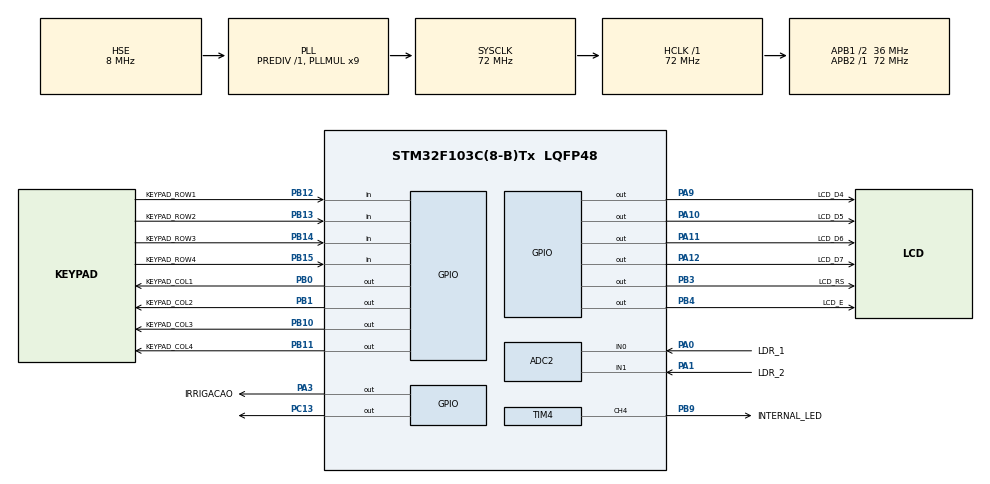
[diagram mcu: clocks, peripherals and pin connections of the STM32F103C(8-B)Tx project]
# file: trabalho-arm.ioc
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ADC1.Channel-2\#ChannelRegularConversion=ADC_CHANNEL_VREFINT
ADC1.Channel-3\#ChannelRegularConversion=ADC_CHANNEL_TEMPSENSOR
ADC1.ContinuousConvMode=ENABLE
ADC1.NbrOfConversion=2
ADC1.NbrOfConversionFlag=1
ADC1.Rank-2\#ChannelRegularConversion=1
ADC1.Rank-3\#ChannelRegularConversion=2
ADC1.SamplingTime-2\#ChannelRegularConversion=ADC_SAMPLETIME_239CYCLES_5
ADC1.SamplingTime-3\#ChannelRegularConversion=ADC_SAMPLETIME_239CYCLES_5
ADC1.master=1
ADC2.Channel-0\#ChannelRegularConversion=ADC_CHANNEL_1
ADC2.ContinuousConvMode=ENABLE
ADC2.NbrOfConversionFlag=1
ADC2.Rank-0\#ChannelRegularConversion=1
ADC2.SamplingTime-0\#ChannelRegularConversion=ADC_SAMPLETIME_55CYCLES_5
Dma.ADC1.0.Direction=DMA_PERIPH_TO_MEMORY
Dma.ADC1.0.Instance=DMA1_Channel1
Dma.ADC1.0.MemDataAlignment=DMA_MDATAALIGN_HALFWORD
Dma.ADC1.0.MemInc=DMA_MINC_ENABLE
Dma.ADC1.0.Mode=DMA_CIRCULAR
Dma.ADC1.0.PeriphDataAlignment=DMA_PDATAALIGN_HALFWORD
Dma.ADC1.0.PeriphInc=DMA_PINC_DISABLE
Dma.ADC1.0.Priority=DMA_PRIORITY_LOW
Dma.Request0=ADC1
Mcu.Family=STM32F1
Mcu.Name=STM32F103C(8-B)Tx
Mcu.Package=LQFP48
NVIC.ADC1_2_IRQn=true\:0\:0\:false\:false\:true\:true\:true\:true
NVIC.DMA1_Channel1_IRQn=true\:0\:0\:false\:false\:true\:false\:true\:true
NVIC.PriorityGroup=NVIC_PRIORITYGROUP_4
NVIC.TIM2_IRQn=true\:0\:0\:false\:false\:true\:true\:true\:true
NVIC.TIM3_IRQn=true\:0\:0\:false\:false\:true\:true\:true\:true
PA0-WKUP.GPIO_Label=LDR_1
PA0-WKUP.Signal=ADCx_IN0
PA1.GPIO_Label=LDR_2
PA1.Signal=ADCx_IN1
PA10.GPIO_Label=LCD_D5
PA10.GPIO_Speed=GPIO_SPEED_FREQ_HIGH
PA10.Signal=GPIO_Output
PA11.GPIO_Label=LCD_D6
PA11.GPIO_Speed=GPIO_SPEED_FREQ_HIGH
PA11.Signal=GPIO_Output
PA12.GPIO_Label=LCD_D7
PA12.GPIO_Speed=GPIO_SPEED_FREQ_HIGH
PA12.Signal=GPIO_Output
PA3.GPIO_Label=IRRIGACAO
PA3.GPIO_Speed=GPIO_SPEED_FREQ_HIGH
PA3.Signal=GPIO_Output
PA9.GPIO_Label=LCD_D4
PA9.GPIO_Speed=GPIO_SPEED_FREQ_HIGH
PA9.Signal=GPIO_Output
PB0.GPIO_Label=KEYPAD_COL1
PB0.GPIO_Speed=GPIO_SPEED_FREQ_HIGH
PB0.Signal=GPIO_Output
PB1.GPIO_Label=KEYPAD_COL2
PB1.GPIO_Speed=GPIO_SPEED_FREQ_HIGH
PB1.Signal=GPIO_Output
PB10.GPIO_Label=KEYPAD_COL3
PB10.GPIO_Speed=GPIO_SPEED_FREQ_HIGH
PB10.Signal=GPIO_Output
PB11.GPIO_Label=KEYPAD_COL4
PB11.GPIO_Speed=GPIO_SPEED_FREQ_HIGH
PB11.Signal=GPIO_Output
PB12.GPIO_Label=KEYPAD_ROW1
PB12.GPIO_PuPd=GPIO_PULLUP
PB12.Signal=GPIO_Input
PB13.GPIO_Label=KEYPAD_ROW2
PB13.GPIO_PuPd=GPIO_PULLUP
PB13.Signal=GPIO_Input
PB14.GPIO_Label=KEYPAD_ROW3
PB14.GPIO_PuPd=GPIO_PULLUP
PB14.Signal=GPIO_Input
PB15.GPIO_Label=KEYPAD_ROW4
PB15.GPIO_PuPd=GPIO_PULLUP
PB15.Signal=GPIO_Input
PB3.GPIO_Label=LCD_RS
PB3.GPIO_Speed=GPIO_SPEED_FREQ_HIGH
PB3.Signal=GPIO_Output
PB4.GPIO_Label=LCD_E
PB4.GPIO_Speed=GPIO_SPEED_FREQ_HIGH
PB4.Signal=GPIO_Output
PB9.GPIO_Label=INTERNAL_LED
PB9.Signal=S_TIM4_CH4
PC13-TAMPER-RTC.GPIO_Speed=GPIO_SPEED_FREQ_HIGH
PC13-TAMPER-RTC.Signal=GPIO_Output
PD0-OSC_IN.Mode=HSE-External-Oscillator
PD0-OSC_IN.Signal=RCC_OSC_IN
PD1-OSC_OUT.Mode=HSE-External-Oscillator
PD1-OSC_OUT.Signal=RCC_OSC_OUT
ProjectManager.HeapSize=0x200
ProjectManager.StackSize=0x400
ProjectManager.TargetToolchain=STM32CubeIDE
RCC.ADCPresc=RCC_ADCPCLK2_DIV6
RCC.AHBFreq_Value=72000000
RCC.APB1CLKDivider=RCC_HCLK_DIV2
RCC.APB1Freq_Value=36000000
RCC.APB1TimFreq_Value=72000000
RCC.APB2Freq_Value=72000000
RCC.APB2TimFreq_Value=72000000
RCC.HCLKFreq_Value=72000000
RCC.PLLMUL=RCC_PLL_MUL9
RCC.PLLSourceVirtual=RCC_PLLSOURCE_HSE
RCC.SYSCLKFreq_VALUE=72000000
RCC.SYSCLKSource=RCC_SYSCLKSOURCE_PLLCLK
RCC.USBFreq_Value=72000000
SH.ADCx_IN0.0=ADC2_IN0,IN0
SH.ADCx_IN1.0=ADC2_IN1,IN1
SH.S_TIM4_CH4.0=TIM4_CH4,PWM Generation4 CH4
TIM2.AutoReloadPreload=TIM_AUTORELOAD_PRELOAD_ENABLE
TIM2.CounterMode=TIM_COUNTERMODE_DOWN
TIM2.Period=999
TIM2.Prescaler=35999
TIM3.AutoReloadPreload=TIM_AUTORELOAD_PRELOAD_ENABLE
TIM3.CounterMode=TIM_COUNTERMODE_DOWN
TIM3.Period=9999
TIM3.Prescaler=7199
TIM4.AutoReloadPreload=TIM_AUTORELOAD_PRELOAD_DISABLE
TIM4.Channel-PWM\ Generation4\ CH4=TIM_CHANNEL_4
TIM4.OC4Preload_PWM=DISABLE
TIM4.Period=119
TIM4.Prescaler=7199
TIM4.Pulse-PWM\ Generation4\ CH4=60
VP_ADC1_TempSens_Input.Mode=IN-TempSens
VP_ADC1_Vref_Input.Mode=IN-Vrefint
VP_SYS_VS_ND.Mode=No_Debug
VP_TIM2_VS_ClockSourceINT.Mode=Internal
VP_TIM3_VS_ClockSourceINT.Mode=Internal
VP_TIM4_VS_ClockSourceINT.Mode=Internal
board=custom

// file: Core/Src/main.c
/* USER CODE BEGIN Header */
/**
 * ******************************************************************************
  	  	  	  	  	  	 TRABALHO 2 - MICROPROCESSADORES - I
							  ARTHUR A S ARAUJO
							  GABRIEL R S MENDES
  ******************************************************************************
  ******************************************************************************
  * @file           : main.c
  * @brief          : Main program body
  ******************************************************************************
  * @attention
  *
  * Copyright (c) 2024 STMicroelectronics.
  * All rights reserved.
  *
  * This software is licensed under terms that can be found in the LICENSE file
  * in the root directory of this software component.
  * If no LICENSE file comes with this software, it is provided AS-IS.
  *
  ******************************************************************************
  */
/* USER CODE END Header */
#include "main.h"

/* USER CODE BEGIN Includes */
#include "keypad.h"
#include "lcd.h"
#include "ambient.h"
/* USER CODE END Includes */

ADC_HandleTypeDef hadc1;
ADC_HandleTypeDef hadc2;
DMA_HandleTypeDef hdma_adc1;

TIM_HandleTypeDef htim2;
TIM_HandleTypeDef htim3;
TIM_HandleTypeDef htim4;

/* USER CODE BEGIN PV */
volatile unsigned char tempo_irrigacao = 15;
volatile unsigned char elapsed_time = 0;
volatile char flag_irrigacao_em_andamento = 0;

volatile char flag_temperatura_acima_limite = 0;	// 1 = Acima do Limite, 0 = Abaixo do Limite
volatile char flag_turno_dia = 1;		// 1 = Dia, 0 = Noite
char variedade = 0;		// 0-Alface, 1-Pimentao, 2-Morango

float temperatura_limite = 25.0;
volatile float temperatura_atual;
uint16_t AD_RES[2];

volatile char selected_menu = 0; // 0-Principal, 1-Informacoes Sistema, 2-Selecao, 3-Intensidade Luz, 4-Operador

/* USER CODE END PV */

void SystemClock_Config(void);
static void MX_GPIO_Init(void);
static void MX_DMA_Init(void);
static void MX_ADC1_Init(void);
static void MX_TIM3_Init(void);
static void MX_TIM4_Init(void);
static void MX_TIM2_Init(void);
static void MX_ADC2_Init(void);
/* USER CODE BEGIN PFP */
void select_params(void);
void menu_main(void);
void menu_selection(void);
void menu_plant_selection(void);
void menu_temperature_selection(void);
void get_name(char code, char* buffer);
void get_day_night(char code, char* buffer);
void menu_actual_state(void);
void menu_light(void);

void menu_selection_operator(void);
char validate_user(const char* login, const char* password);
char menu_operator_login(void);
/* USER CODE END PFP */

/* USER CODE BEGIN 0 */
// Interrupt handler for TIM2 Channel 1 and Channel 2

void HAL_TIM_PeriodElapsedCallback(TIM_HandleTypeDef *htim)
{
	// TIMER 3 -> IRRIGACAO (Periodo 1s)
    if (htim->Instance == TIM3)
    {
    	HAL_GPIO_TogglePin(GPIOC, GPIO_PIN_13);

    	/* ============================== IRRIGACAO ============================== */
    	elapsed_time++;
    	if(elapsed_time >= tempo_irrigacao && flag_irrigacao_em_andamento == 1){
    		HAL_GPIO_WritePin(GPIOA, GPIO_PIN_3, GPIO_PIN_RESET);
    		flag_irrigacao_em_andamento=0;
    	}
    	else if(elapsed_time < tempo_irrigacao && flag_irrigacao_em_andamento == 0){
    		HAL_GPIO_WritePin(GPIOA, GPIO_PIN_3, GPIO_PIN_SET);
    		elapsed_time=0;
    		flag_irrigacao_em_andamento=1;
    	}
    	else if(elapsed_time >= 60 && flag_irrigacao_em_andamento == 0){
			elapsed_time=0;
		}

    }
    // TIMER 2 (Periodo 0,25s)
	if (htim->Instance == TIM2){
		/* ==================== DEFINE VARIAVEIS DO SISTEMA ==================== */
		temperatura_atual = Read_Temperature();
		if(temperatura_atual > temperatura_limite){
			flag_temperatura_acima_limite = 1;	// 1 = Acima do Limite, 0 = Abaixo do Limite
		}else{
			flag_temperatura_acima_limite = 0;	// 1 = Acima do Limite, 0 = Abaixo do Limite
		}
		Classify_Day_or_Night(&flag_turno_dia);
		select_params();
		Regulate_Light_Intensity();
	}
}
/* USER CODE END 0 */

int main(void)
{

  /* USER CODE BEGIN 1 */
//	uint32_t ldr1_value, ldr2_value;

  /* USER CODE END 1 */

  /* MCU Configuration--------------------------------------------------------*/

  /* Reset of all peripherals, Initializes the Flash interface and the Systick. */
  HAL_Init();

  /* Configure the system clock */
  SystemClock_Config();

  /* Initialize all configured peripherals */
  MX_GPIO_Init();
  MX_DMA_Init();
  MX_ADC1_Init();
  MX_TIM3_Init();
  MX_TIM4_Init();
  MX_TIM2_Init();
  MX_ADC2_Init();
  /* USER CODE BEGIN 2 */

  /* Enable interrupt by timer 2*/
  HAL_TIM_Base_Start_IT(&htim2);
  /* Enable interrupt by timer 3*/
  HAL_TIM_Base_Start_IT(&htim3);
  /* Enable PWM by timer 4 CH4*/
  HAL_TIM_PWM_Start(&htim4, TIM_CHANNEL_4);

  HAL_ADCEx_Calibration_Start(&hadc1);
  HAL_ADC_Start_DMA(&hadc1, (uint32_t*)AD_RES, 2);   // Start ADC Conversion

  init_LCD();
  keypad_init();

  /* USER CODE END 2 */

  /* Infinite loop */
  /* USER CODE BEGIN WHILE */
  while (1)
  {

	/* ==================== RECEBE TECLA ==================== */
	 char key = keypad_getkey();
	 if(key != 0){
		 menu_selection();
	 }
	/* ==================== ATUALIZA MENU ==================== */

	// 0-Principal, 1-Informacoes Sistema, 2-Selecao
	switch(selected_menu) {
		case 0:
			menu_main();
			break;
		case 1:
			menu_actual_state();
			break;
		case 2:
			menu_selection();
			break;
		case 3:
			menu_light();
			break;
		case 4:
			menu_selection_operator();
			break;
	}

    /* USER CODE END WHILE */

  }
}

void SystemClock_Config(void)
{
  RCC_OscInitTypeDef RCC_OscInitStruct = {0};
  RCC_ClkInitTypeDef RCC_ClkInitStruct = {0};
  RCC_PeriphCLKInitTypeDef PeriphClkInit = {0};

  /** Initializes the RCC Oscillators according to the specified parameters
  * in the RCC_OscInitTypeDef structure.
  */
  RCC_OscInitStruct.OscillatorType = RCC_OSCILLATORTYPE_HSE;
  RCC_OscInitStruct.HSEState = RCC_HSE_ON;
  RCC_OscInitStruct.HSEPredivValue = RCC_HSE_PREDIV_DIV1;
  RCC_OscInitStruct.HSIState = RCC_HSI_ON;
  RCC_OscInitStruct.PLL.PLLState = RCC_PLL_ON;
  RCC_OscInitStruct.PLL.PLLSource = RCC_PLLSOURCE_HSE;
  RCC_OscInitStruct.PLL.PLLMUL = RCC_PLL_MUL9;
  if (HAL_RCC_OscConfig(&RCC_OscInitStruct) != HAL_OK)
  {
    Error_Handler();
  }

  /** Initializes the CPU, AHB and APB buses clocks
  */
  RCC_ClkInitStruct.ClockType = RCC_CLOCKTYPE_HCLK|RCC_CLOCKTYPE_SYSCLK
                              |RCC_CLOCKTYPE_PCLK1|RCC_CLOCKTYPE_PCLK2;
  RCC_ClkInitStruct.SYSCLKSource = RCC_SYSCLKSOURCE_PLLCLK;
  RCC_ClkInitStruct.AHBCLKDivider = RCC_SYSCLK_DIV1;
  RCC_ClkInitStruct.APB1CLKDivider = RCC_HCLK_DIV2;
  RCC_ClkInitStruct.APB2CLKDivider = RCC_HCLK_DIV1;

  if (HAL_RCC_ClockConfig(&RCC_ClkInitStruct, FLASH_LATENCY_2) != HAL_OK)
  {
    Error_Handler();
  }
  PeriphClkInit.PeriphClockSelection = RCC_PERIPHCLK_ADC;
  PeriphClkInit.AdcClockSelection = RCC_ADCPCLK2_DIV6;
  if (HAL_RCCEx_PeriphCLKConfig(&PeriphClkInit) != HAL_OK)
  {
    Error_Handler();
  }
}

static void MX_ADC1_Init(void)
{

  ADC_ChannelConfTypeDef sConfig = {0};

  /** Common config
  */
  hadc1.Instance = ADC1;
  hadc1.Init.ScanConvMode = ADC_SCAN_ENABLE;
  hadc1.Init.ContinuousConvMode = ENABLE;
  hadc1.Init.DiscontinuousConvMode = DISABLE;
  hadc1.Init.ExternalTrigConv = ADC_SOFTWARE_START;
  hadc1.Init.DataAlign = ADC_DATAALIGN_RIGHT;
  hadc1.Init.NbrOfConversion = 2;
  if (HAL_ADC_Init(&hadc1) != HAL_OK)
  {
    Error_Handler();
  }

  /** Configure Regular Channel
  */
  sConfig.Channel = ADC_CHANNEL_VREFINT;
  sConfig.Rank = ADC_REGULAR_RANK_1;
  sConfig.SamplingTime = ADC_SAMPLETIME_239CYCLES_5;
  if (HAL_ADC_ConfigChannel(&hadc1, &sConfig) != HAL_OK)
  {
    Error_Handler();
  }

  /** Configure Regular Channel
  */
  sConfig.Channel = ADC_CHANNEL_TEMPSENSOR;
  sConfig.Rank = ADC_REGULAR_RANK_2;
  if (HAL_ADC_ConfigChannel(&hadc1, &sConfig) != HAL_OK)
  {
    Error_Handler();
  }

}

static void MX_ADC2_Init(void)
{

  ADC_ChannelConfTypeDef sConfig = {0};

  /** Common config
  */
  hadc2.Instance = ADC2;
  hadc2.Init.ScanConvMode = ADC_SCAN_DISABLE;
  hadc2.Init.ContinuousConvMode = ENABLE;
  hadc2.Init.DiscontinuousConvMode = DISABLE;
  hadc2.Init.ExternalTrigConv = ADC_SOFTWARE_START;
  hadc2.Init.DataAlign = ADC_DATAALIGN_RIGHT;
  hadc2.Init.NbrOfConversion = 1;
  if (HAL_ADC_Init(&hadc2) != HAL_OK)
  {
    Error_Handler();
  }

  /** Configure Regular Channel
  */
  sConfig.Channel = ADC_CHANNEL_1;
  sConfig.Rank = ADC_REGULAR_RANK_1;
  sConfig.SamplingTime = ADC_SAMPLETIME_55CYCLES_5;
  if (HAL_ADC_ConfigChannel(&hadc2, &sConfig) != HAL_OK)
  {
    Error_Handler();
  }

}

static void MX_TIM2_Init(void)
{

  TIM_ClockConfigTypeDef sClockSourceConfig = {0};
  TIM_MasterConfigTypeDef sMasterConfig = {0};

  htim2.Instance = TIM2;
  htim2.Init.Prescaler = 35999;
  htim2.Init.CounterMode = TIM_COUNTERMODE_DOWN;
  htim2.Init.Period = 999;
  htim2.Init.ClockDivision = TIM_CLOCKDIVISION_DIV1;
  htim2.Init.AutoReloadPreload = TIM_AUTORELOAD_PRELOAD_ENABLE;
  if (HAL_TIM_Base_Init(&htim2) != HAL_OK)
  {
    Error_Handler();
  }
  sClockSourceConfig.ClockSource = TIM_CLOCKSOURCE_INTERNAL;
  if (HAL_TIM_ConfigClockSource(&htim2, &sClockSourceConfig) != HAL_OK)
  {
    Error_Handler();
  }
  sMasterConfig.MasterOutputTrigger = TIM_TRGO_RESET;
  sMasterConfig.MasterSlaveMode = TIM_MASTERSLAVEMODE_DISABLE;
  if (HAL_TIMEx_MasterConfigSynchronization(&htim2, &sMasterConfig) != HAL_OK)
  {
    Error_Handler();
  }

}

static void MX_TIM3_Init(void)
{

  TIM_ClockConfigTypeDef sClockSourceConfig = {0};
  TIM_MasterConfigTypeDef sMasterConfig = {0};

  htim3.Instance = TIM3;
  htim3.Init.Prescaler = 7199;
  htim3.Init.CounterMode = TIM_COUNTERMODE_DOWN;
  htim3.Init.Period = 9999;
  htim3.Init.ClockDivision = TIM_CLOCKDIVISION_DIV1;
  htim3.Init.AutoReloadPreload = TIM_AUTORELOAD_PRELOAD_ENABLE;
  if (HAL_TIM_Base_Init(&htim3) != HAL_OK)
  {
    Error_Handler();
  }
  sClockSourceConfig.ClockSource = TIM_CLOCKSOURCE_INTERNAL;
  if (HAL_TIM_ConfigClockSource(&htim3, &sClockSourceConfig) != HAL_OK)
  {
    Error_Handler();
  }
  sMasterConfig.MasterOutputTrigger = TIM_TRGO_RESET;
  sMasterConfig.MasterSlaveMode = TIM_MASTERSLAVEMODE_DISABLE;
  if (HAL_TIMEx_MasterConfigSynchronization(&htim3, &sMasterConfig) != HAL_OK)
  {
    Error_Handler();
  }

}

static void MX_TIM4_Init(void)
{

  TIM_ClockConfigTypeDef sClockSourceConfig = {0};
  TIM_MasterConfigTypeDef sMasterConfig = {0};
  TIM_OC_InitTypeDef sConfigOC = {0};

  htim4.Instance = TIM4;
  htim4.Init.Prescaler = 7199;
  htim4.Init.CounterMode = TIM_COUNTERMODE_UP;
  htim4.Init.Period = 119;
  htim4.Init.ClockDivision = TIM_CLOCKDIVISION_DIV1;
  htim4.Init.AutoReloadPreload = TIM_AUTORELOAD_PRELOAD_DISABLE;
  if (HAL_TIM_Base_Init(&htim4) != HAL_OK)
  {
    Error_Handler();
  }
  sClockSourceConfig.ClockSource = TIM_CLOCKSOURCE_INTERNAL;
  if (HAL_TIM_ConfigClockSource(&htim4, &sClockSourceConfig) != HAL_OK)
  {
    Error_Handler();
  }
  if (HAL_TIM_PWM_Init(&htim4) != HAL_OK)
  {
    Error_Handler();
  }
  sMasterConfig.MasterOutputTrigger = TIM_TRGO_RESET;
  sMasterConfig.MasterSlaveMode = TIM_MASTERSLAVEMODE_DISABLE;
  if (HAL_TIMEx_MasterConfigSynchronization(&htim4, &sMasterConfig) != HAL_OK)
  {
    Error_Handler();
  }
  sConfigOC.OCMode = TIM_OCMODE_PWM1;
  sConfigOC.Pulse = 60;
  sConfigOC.OCPolarity = TIM_OCPOLARITY_HIGH;
  sConfigOC.OCFastMode = TIM_OCFAST_DISABLE;
  if (HAL_TIM_PWM_ConfigChannel(&htim4, &sConfigOC, TIM_CHANNEL_4) != HAL_OK)
  {
    Error_Handler();
  }
  __HAL_TIM_DISABLE_OCxPRELOAD(&htim4, TIM_CHANNEL_4);
  HAL_TIM_MspPostInit(&htim4);

}

static void MX_DMA_Init(void)
{

  /* DMA controller clock enable */
  __HAL_RCC_DMA1_CLK_ENABLE();

  /* DMA interrupt init */
  /* DMA1_Channel1_IRQn interrupt configuration */
  HAL_NVIC_SetPriority(DMA1_Channel1_IRQn, 0, 0);
  HAL_NVIC_EnableIRQ(DMA1_Channel1_IRQn);

}

static void MX_GPIO_Init(void)
{
  GPIO_InitTypeDef GPIO_InitStruct = {0};

  /* GPIO Ports Clock Enable */
  __HAL_RCC_GPIOC_CLK_ENABLE();
  __HAL_RCC_GPIOD_CLK_ENABLE();
  __HAL_RCC_GPIOA_CLK_ENABLE();
  __HAL_RCC_GPIOB_CLK_ENABLE();

  /*Configure GPIO pin Output Level */
  HAL_GPIO_WritePin(GPIOC, GPIO_PIN_13, GPIO_PIN_RESET);

  /*Configure GPIO pin Output Level */
  HAL_GPIO_WritePin(GPIOA, IRRIGACAO_Pin|LCD_D4_Pin|LCD_D5_Pin|LCD_D6_Pin
                          |LCD_D7_Pin, GPIO_PIN_RESET);

  /*Configure GPIO pin Output Level */
  HAL_GPIO_WritePin(GPIOB, KEYPAD_COL1_Pin|KEYPAD_COL2_Pin|KEYPAD_COL3_Pin|KEYPAD_COL4_Pin
                          |LCD_RS_Pin|LCD_E_Pin, GPIO_PIN_RESET);

  /*Configure GPIO pin : PC13 */
  GPIO_InitStruct.Pin = GPIO_PIN_13;
  GPIO_InitStruct.Mode = GPIO_MODE_OUTPUT_PP;
  GPIO_InitStruct.Pull = GPIO_NOPULL;
  GPIO_InitStruct.Speed = GPIO_SPEED_FREQ_HIGH;
  HAL_GPIO_Init(GPIOC, &GPIO_InitStruct);

  /*Configure GPIO pins : IRRIGACAO_Pin LCD_D4_Pin LCD_D5_Pin LCD_D6_Pin
                           LCD_D7_Pin */
  GPIO_InitStruct.Pin = IRRIGACAO_Pin|LCD_D4_Pin|LCD_D5_Pin|LCD_D6_Pin
                          |LCD_D7_Pin;
  GPIO_InitStruct.Mode = GPIO_MODE_OUTPUT_PP;
  GPIO_InitStruct.Pull = GPIO_NOPULL;
  GPIO_InitStruct.Speed = GPIO_SPEED_FREQ_HIGH;
  HAL_GPIO_Init(GPIOA, &GPIO_InitStruct);

  /*Configure GPIO pins : KEYPAD_COL1_Pin KEYPAD_COL2_Pin KEYPAD_COL3_Pin KEYPAD_COL4_Pin
                           LCD_RS_Pin LCD_E_Pin */
  GPIO_InitStruct.Pin = KEYPAD_COL1_Pin|KEYPAD_COL2_Pin|KEYPAD_COL3_Pin|KEYPAD_COL4_Pin
                          |LCD_RS_Pin|LCD_E_Pin;
  GPIO_InitStruct.Mode = GPIO_MODE_OUTPUT_PP;
  GPIO_InitStruct.Pull = GPIO_NOPULL;
  GPIO_InitStruct.Speed = GPIO_SPEED_FREQ_HIGH;
  HAL_GPIO_Init(GPIOB, &GPIO_InitStruct);

  /*Configure GPIO pins : KEYPAD_ROW1_Pin KEYPAD_ROW2_Pin KEYPAD_ROW3_Pin KEYPAD_ROW4_Pin */
  GPIO_InitStruct.Pin = KEYPAD_ROW1_Pin|KEYPAD_ROW2_Pin|KEYPAD_ROW3_Pin|KEYPAD_ROW4_Pin;
  GPIO_InitStruct.Mode = GPIO_MODE_INPUT;
  GPIO_InitStruct.Pull = GPIO_PULLUP;
  HAL_GPIO_Init(GPIOB, &GPIO_InitStruct);

}

/* USER CODE BEGIN 4 */

void select_params(void){

	switch(variedade){
		// ALFACE
		case 0:
			if(flag_turno_dia == 1 && flag_temperatura_acima_limite == 1){
				tempo_irrigacao = 17;
			}
			else if(flag_turno_dia == 1 && flag_temperatura_acima_limite == 0){
				tempo_irrigacao = 15;
			}
			else if(flag_turno_dia == 0 && flag_temperatura_acima_limite == 1){
				tempo_irrigacao = 10;
			}
			else if(flag_turno_dia == 0 && flag_temperatura_acima_limite == 0){
				tempo_irrigacao = 7;
			}
			break;
		// PIMENTAO
		case 1:
			if(flag_turno_dia == 1 && flag_temperatura_acima_limite == 1){
				tempo_irrigacao = 13;
			}
			else if(flag_turno_dia == 1 && flag_temperatura_acima_limite == 0){
				tempo_irrigacao = 10;
			}
			else if(flag_turno_dia == 0 && flag_temperatura_acima_limite == 1){
				tempo_irrigacao = 6;
			}
			else if(flag_turno_dia == 0 && flag_temperatura_acima_limite == 0){
				tempo_irrigacao = 3;
			}
			break;
		// MORANGO
		case 2:
			if(flag_turno_dia == 1 && flag_temperatura_acima_limite == 1){
				tempo_irrigacao = 19;
			}
			else if(flag_turno_dia == 1 && flag_temperatura_acima_limite == 0){
				tempo_irrigacao = 17;
			}
			else if(flag_turno_dia == 0 && flag_temperatura_acima_limite == 1){
				tempo_irrigacao = 13;
			}
			else if(flag_turno_dia == 0 && flag_temperatura_acima_limite == 0){
				tempo_irrigacao = 10;
			}
			break;
	}

}

void menu_selection(void){
	selected_menu = 2;
	const char *options[] = {"  Informacoes", " Modo Operador", "Intensidade Luz", "      Sair"};
	char num_options = sizeof(options) / sizeof(options[0]);
	char option = navigate_options(options, num_options);
	switch(option){
		case 0:
			menu_actual_state();
			selected_menu = 1;
			break;
		case 1:
			char response = menu_operator_login();
			if(response){
				menu_selection_operator();
				selected_menu = 4;
			}else{
				clear_display();
				write_string_line(1, " Login Invalido");
				HAL_Delay(3000);
			}
			break;
		case 2:
			menu_light();
			selected_menu = 3;
			break;
		case 3:
			menu_main();
			selected_menu = 0;
			break;
	}
}

void menu_selection_operator(void){
	const char *options[] = {" Mudar Temp " "\xDF" "C", "  Mudar Planta", "      Sair"};
	char num_options = sizeof(options) / sizeof(options[0]);
	char option = navigate_options(options, num_options);
	switch(option){
		case 0:
			menu_temperature_selection();
			select_params();
			break;
		case 1:
			menu_plant_selection();
			select_params();
			break;
		case 2:
			menu_main();
			selected_menu = 0;
			break;
	}
}

void menu_temperature_selection(void){
	clear_display();
	write_string_line(1,"Digite o Valor:");
	char buffer[3];
	float temp = read_temperature_keypad(buffer);
	if(temp != -1.0){
		temperatura_limite = temp;
		clear_display();
		write_string_line(1, "Temp Selecionada");
		write_string_line(2, "      ");
		write_string_LCD(buffer);
		write_string_LCD("\xDF" "C");
		HAL_Delay(3000);
	}else{

	}

}

void menu_plant_selection(void){
	const char *options[] = {"     Alface", "    Pimentao", "    Morango"};
	char num_options = sizeof(options) / sizeof(options[0]);
	variedade = navigate_options(options, num_options);
	char buffer[16];
	get_name(variedade, buffer);
	clear_display();
	write_string_line(1, "   ");
	write_string_LCD(buffer);
	write_string_line(2, "  Selecionado");
	HAL_Delay(3000);
}

void get_name(char code, char* buffer) {
    switch(code) {
        case 0:
            strcpy(buffer, "Alface  ");
            break;
        case 1:
            strcpy(buffer, "Pimentao");
            break;
        case 2:
            strcpy(buffer, "Morango ");
            break;
        default:
            strcpy(buffer, "Unknown "); // Handle unexpected code values
            break;
    }
}

void get_day_night(char code, char* buffer) {
    switch(code) {
        case 0:
            strcpy(buffer, "Noite");
            break;
        case 1:
            strcpy(buffer, "Dia");
            break;
        default:
            strcpy(buffer, "Unknown"); // Handle unexpected code values
            break;
    }
}

// Menu principal com a temperatura
void menu_main(void){
	char buffer [16];
	sprintf(buffer, "%.2f", temperatura_atual);  // Convert float to string with 2 decimal places
	clear_display();
	write_string_line(1,"   Smart-fARM");
	write_string_line(2,"    ");
	write_string_LCD(buffer);
	write_string_LCD("\xDF" "C");
}

// Menu extra que mostra informações do sistema
void menu_actual_state(void){
	char buffer [16];
	while(1){
		sprintf(buffer, "%.2f", temperatura_atual);  // Convert float to string with 2 decimal places
		clear_display();
		write_string_line(1,"");
		write_string_LCD(buffer);
		write_string_LCD("\xDF" "C |TL:");
		sprintf(buffer, "%.0f", temperatura_limite);  // Convert float to string with 2 decimal places
		write_string_LCD(buffer);
		write_string_LCD("\xDF" "C");
		get_name(variedade,buffer);
		write_string_line(2,buffer);
		write_string_LCD("| ");
		get_day_night(flag_turno_dia,buffer);
		write_string_LCD(buffer);
		char key = keypad_getkey();
		if(key != 0){
			break;
		}
	}
}

void menu_light(void){
	// Mostra intensidade luminosa
	float light;
	char buffer[16];
	clear_display();
	while(1){
		write_string_line(1,"Interior : ");
		light = read_light_inside();
		sprintf(buffer, "%.2f", light);
		write_string_LCD(buffer);
		write_string_line(2,"Exterior : ");
		light = read_light_outside();
		sprintf(buffer, "%.2f", light);
		write_string_LCD(buffer);

		char key = keypad_getkey();
		if(key != 0){
		 break;
		}
	}
}

char menu_operator_login(void){
	char login[7]; // Ajuste o tamanho conforme necessário
	read_login(login);

	// Define the source string
	char login_line[16] = "User: ";
	// Concatenate the source string to the destination string
	strncat(login_line, login, 7);

	char pwd[7]; // Ajuste o tamanho conforme necessário
	read_pwd(login_line, pwd);

	char response;
	response = validate_user(login, pwd);
	return response;
}

// Função para validar credenciais de usuário
char validate_user(const char* login, const char* password) {
	if(login[0] != 0 && password[0] != 0){ // Garante que login e senha não estão vazios
		char user[] = "123456";
		char pwd[] = "123456";

		if (strcmp(user, login) == 0 && strcmp(pwd, password) == 0) {
			return 1; // Credenciais correspondem
		}else{
			return 0; // Credenciais não encontradas
		}
	}
	return 0;
}
/* USER CODE END 4 */

void Error_Handler(void)
{
  __disable_irq();
  while (1)
  {
  }
}
